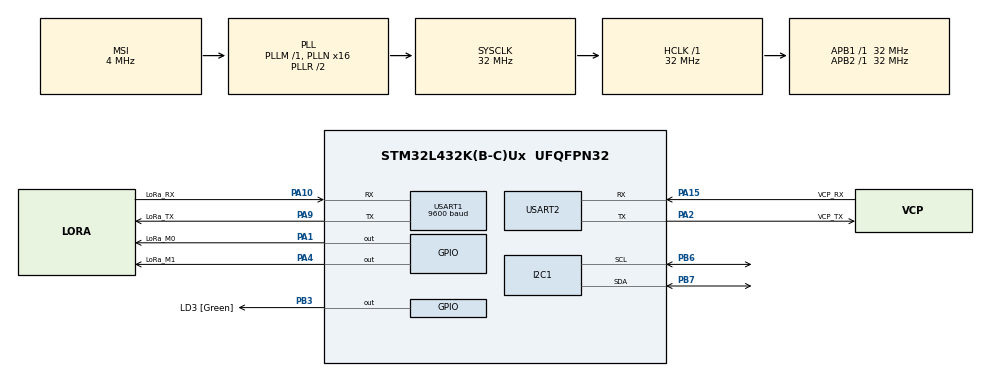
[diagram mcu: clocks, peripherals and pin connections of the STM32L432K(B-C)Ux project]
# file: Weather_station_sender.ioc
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I2C1.Timing=0x00707CBB
Mcu.Family=STM32L4
Mcu.Name=STM32L432K(B-C)Ux
Mcu.Package=UFQFPN32
NVIC.PriorityGroup=NVIC_PRIORITYGROUP_4
NVIC.USART1_IRQn=true\:0\:0\:false\:false\:true\:true\:true\:true
PA0.GPIO_Label=MCO [High speed clock in]
PA0.Mode=HSE-External-Clock-Source-for-LittleOrca
PA0.Signal=RCC_CK_IN
PA1.GPIO_Label=LoRa_M0
PA1.GPIO_PuPd=GPIO_PULLUP
PA1.GPIO_Speed=GPIO_SPEED_FREQ_HIGH
PA1.Signal=GPIO_Output
PA10.GPIO_Label=LoRa_RX
PA10.Mode=Asynchronous
PA10.Signal=USART1_RX
PA13\ (JTMS-SWDIO).GPIO_Label=SWDIO
PA13\ (JTMS-SWDIO).Mode=Serial_Wire
PA13\ (JTMS-SWDIO).Signal=SYS_JTMS-SWDIO
PA14\ (JTCK-SWCLK).GPIO_Label=SWCLK
PA14\ (JTCK-SWCLK).Mode=Serial_Wire
PA14\ (JTCK-SWCLK).Signal=SYS_JTCK-SWCLK
PA15\ (JTDI).GPIO_Label=VCP_RX
PA15\ (JTDI).Mode=Asynchronous
PA15\ (JTDI).Signal=USART2_RX
PA2.GPIO_Label=VCP_TX
PA2.Mode=Asynchronous
PA2.Signal=USART2_TX
PA4.GPIO_Label=LoRa_M1
PA4.GPIO_PuPd=GPIO_PULLUP
PA4.GPIO_Speed=GPIO_SPEED_FREQ_HIGH
PA4.Signal=GPIO_Output
PA9.GPIO_Label=LoRa_TX
PA9.GPIO_Speed=GPIO_SPEED_FREQ_LOW
PA9.Mode=Asynchronous
PA9.Signal=USART1_TX
PB3\ (JTDO-TRACESWO).GPIO_Label=LD3 [Green]
PB3\ (JTDO-TRACESWO).GPIO_Speed=GPIO_SPEED_FREQ_HIGH
PB3\ (JTDO-TRACESWO).Signal=GPIO_Output
PB6.Mode=I2C
PB6.Signal=I2C1_SCL
PB7.Mode=I2C
PB7.Signal=I2C1_SDA
PC14-OSC32_IN\ (PC14).Mode=LSE-External-Oscillator
PC14-OSC32_IN\ (PC14).Signal=RCC_OSC32_IN
PC15-OSC32_OUT\ (PC15).Mode=LSE-External-Oscillator
PC15-OSC32_OUT\ (PC15).Signal=RCC_OSC32_OUT
ProjectManager.HeapSize=0x200
ProjectManager.StackSize=0x400
ProjectManager.TargetToolchain=STM32CubeIDE
RCC.AHBFreq_Value=32000000
RCC.APB1Freq_Value=32000000
RCC.APB1TimFreq_Value=32000000
RCC.APB2Freq_Value=32000000
RCC.APB2TimFreq_Value=32000000
RCC.CortexFreq_Value=32000000
RCC.HCLKFreq_Value=32000000
RCC.HSE_VALUE=8000000
RCC.HSI16_VALUE=16000000
RCC.HSI48_VALUE=48000000
RCC.HSI_VALUE=16000000
RCC.MSI_VALUE=4000000
RCC.PLLMUL=RCC_PLLMUL_4
RCC.PLLN=16
RCC.SYSCLKFreq_VALUE=32000000
RCC.SYSCLKSource=RCC_SYSCLKSOURCE_PLLCLK
RCC.VCOOutputFreq_Value=64000000
USART1.BaudRate=9600
USART1.VirtualMode-Asynchronous=VM_ASYNC
USART2.VirtualMode-Asynchronous=VM_ASYNC
board=NUCLEO-L432KC

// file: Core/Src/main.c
/* USER CODE BEGIN Header */
/**
 ******************************************************************************
 * @file           : main.c
 * @brief          : Main program body
 ******************************************************************************
 * @attention
 *
 * Copyright (c) 2023 STMicroelectronics.
 * All rights reserved.
 *
 * This software is licensed under terms that can be found in the LICENSE file
 * in the root directory of this software component.
 * If no LICENSE file comes with this software, it is provided AS-IS.
 *
 ******************************************************************************
 */
/* USER CODE END Header */
#include "main.h"

/* USER CODE BEGIN Includes */
#include <string.h>
#include <stdbool.h>
#include <stdlib.h>
#include <string.h>
#include <stdio.h>
#include "sx126x_lora_hat.h"

/* USER CODE END Includes */

/* USER CODE BEGIN PD */
#define MAX_ARRAY_SIZE 400
/* USER CODE END PD */

I2C_HandleTypeDef hi2c1;

UART_HandleTypeDef huart1;
UART_HandleTypeDef huart2;

/* USER CODE BEGIN PV */
uint8_t COMMAND_READ_TEMPERATURE = 0x11;
uint8_t COMMAND_READ_HUMIDITY = 0x01;
static const uint8_t TH02_ADDR = 0x40 << 1;			// Slave address of TH02 shifted by 1 as it is 7bit address
uint8_t init_cplt_flag = ERROR;
uint8_t over_flag = ERROR;
uint8_t rece_buff;
uint8_t rece_count = 3;
uint8_t buffer[100]="\0";
bool transmitted = false;
bool received = false;
bool loop_while = false;

/* USER CODE END PV */

void SystemClock_Config(void);
static void MX_GPIO_Init(void);
static void MX_USART2_UART_Init(void);
static void MX_USART1_UART_Init(void);
static void MX_I2C1_Init(void);
/* USER CODE BEGIN PFP */
uint16_t read_TH02(uint8_t command);

/* USER CODE END PFP */

int main(void)
{
	/* USER CODE BEGIN 1 */
	//uint8_t transparent_string[] = "1. This is a transparent message\r\n";

	/* USER CODE END 1 */

	/* MCU Configuration--------------------------------------------------------*/

	/* Reset of all peripherals, Initializes the Flash interface and the Systick. */
	HAL_Init();

	/* Configure the system clock */
	SystemClock_Config();

	/* Initialize all configured peripherals */
	MX_GPIO_Init();
	MX_USART2_UART_Init();
	MX_USART1_UART_Init();
	MX_I2C1_Init();
	/* USER CODE BEGIN 2 */

	bool flg_I2C_available = false;
	//Wait for reset from LoRa #module
	HAL_Delay(1000);
	while(ERROR == cfg_sx126x_mode(TRANSPARENT_MODE)){
		HAL_Delay(500);
	}

	/* USER CODE END 2 */

	/* Infinite loop */
	/* USER CODE BEGIN WHILE */
	while (1)
	{
		char message[50]={'\0'};
		char large_test_message[MAX_ARRAY_SIZE];
		memset(large_test_message, 'A', sizeof(large_test_message));
		memcpy(&large_test_message[MAX_ARRAY_SIZE-4], "B\r\n\0",4 );
		//large_test_message[MAX_ARRAY_SIZE-1]='\0';
		//COPIED FROM BEYOND COMPARE BEGIN
		HAL_StatusTypeDef ret= HAL_ERROR;
		uint16_t temperature = 0;
		uint16_t humidity = 0;

		if((ret = HAL_I2C_IsDeviceReady(&hi2c1, TH02_ADDR , 1, 2))!= HAL_OK){
			flg_I2C_available = false;
			char error[]="TH02 SENSOR NOT FOUND\r\n";
			HAL_UART_Transmit(&huart2, (uint8_t *)&error,strlen(error),HAL_MAX_DELAY);
		}
		else{
			flg_I2C_available = true;
		}

		if(flg_I2C_available){

			temperature = read_TH02(COMMAND_READ_TEMPERATURE);
			humidity = read_TH02(COMMAND_READ_HUMIDITY);

			//Build status message and print it on connected terminal
			//sprintf(message,"Temp: %d°C\n\rHum: %d%%\n\n\r",temperature,humidity);
			sprintf(message,"%3d|%3d\r\n",temperature,humidity);
			//sprintf(message1,"%3d|%3d\r\n",temperature,humidity);
			HAL_UART_Transmit(&huart2, (uint8_t *)&message,strlen(message),HAL_MAX_DELAY);
		}

		//HAL_UART_Transmit_IT(&huart1,(uint8_t *)&message,strlen((const char *)message));

		/*BEGIN CURRENT MEASUREMENT------------------*/

		//HAL_UART_Transmit_IT(&huart1,(uint8_t *)&message,strlen((const char *)message));
		int a = strlen(large_test_message);

		HAL_UART_Transmit_IT(&huart1,(uint8_t *)&large_test_message,strlen((const char *)large_test_message));

		/*END CURRENT MEASUREMENT--------------------*/
		if(SUCCESS == over_flag){
			HAL_UART_Transmit_IT(&huart2,buffer,strlen((const char *)buffer));
			over_flag = ERROR;
			rece_count = 0;
			HAL_UART_Receive_IT(&huart1,(uint8_t *)&rece_buff,1);
		}

		HAL_Delay(5000);

		/* USER CODE END WHILE */

	}
}

void SystemClock_Config(void)
{
	RCC_OscInitTypeDef RCC_OscInitStruct = {0};
	RCC_ClkInitTypeDef RCC_ClkInitStruct = {0};

	/** Configure the main internal regulator output voltage
	 */
	if (HAL_PWREx_ControlVoltageScaling(PWR_REGULATOR_VOLTAGE_SCALE1) != HAL_OK)
	{
		Error_Handler();
	}

	/** Configure LSE Drive Capability
	 */
	HAL_PWR_EnableBkUpAccess();
	__HAL_RCC_LSEDRIVE_CONFIG(RCC_LSEDRIVE_LOW);

	/** Initializes the RCC Oscillators according to the specified parameters
	 * in the RCC_OscInitTypeDef structure.
	 */
	RCC_OscInitStruct.OscillatorType = RCC_OSCILLATORTYPE_LSE|RCC_OSCILLATORTYPE_MSI;
	RCC_OscInitStruct.LSEState = RCC_LSE_ON;
	RCC_OscInitStruct.MSIState = RCC_MSI_ON;
	RCC_OscInitStruct.MSICalibrationValue = 0;
	RCC_OscInitStruct.MSIClockRange = RCC_MSIRANGE_6;
	RCC_OscInitStruct.PLL.PLLState = RCC_PLL_ON;
	RCC_OscInitStruct.PLL.PLLSource = RCC_PLLSOURCE_MSI;
	RCC_OscInitStruct.PLL.PLLM = 1;
	RCC_OscInitStruct.PLL.PLLN = 16;
	RCC_OscInitStruct.PLL.PLLP = RCC_PLLP_DIV7;
	RCC_OscInitStruct.PLL.PLLQ = RCC_PLLQ_DIV2;
	RCC_OscInitStruct.PLL.PLLR = RCC_PLLR_DIV2;
	if (HAL_RCC_OscConfig(&RCC_OscInitStruct) != HAL_OK)
	{
		Error_Handler();
	}

	/** Initializes the CPU, AHB and APB buses clocks
	 */
	RCC_ClkInitStruct.ClockType = RCC_CLOCKTYPE_HCLK|RCC_CLOCKTYPE_SYSCLK
			|RCC_CLOCKTYPE_PCLK1|RCC_CLOCKTYPE_PCLK2;
	RCC_ClkInitStruct.SYSCLKSource = RCC_SYSCLKSOURCE_PLLCLK;
	RCC_ClkInitStruct.AHBCLKDivider = RCC_SYSCLK_DIV1;
	RCC_ClkInitStruct.APB1CLKDivider = RCC_HCLK_DIV1;
	RCC_ClkInitStruct.APB2CLKDivider = RCC_HCLK_DIV1;

	if (HAL_RCC_ClockConfig(&RCC_ClkInitStruct, FLASH_LATENCY_1) != HAL_OK)
	{
		Error_Handler();
	}

	/** Enable MSI Auto calibration
	 */
	HAL_RCCEx_EnableMSIPLLMode();
}

static void MX_I2C1_Init(void)
{

	hi2c1.Instance = I2C1;
	hi2c1.Init.Timing = 0x00707CBB;
	hi2c1.Init.OwnAddress1 = 0;
	hi2c1.Init.AddressingMode = I2C_ADDRESSINGMODE_7BIT;
	hi2c1.Init.DualAddressMode = I2C_DUALADDRESS_DISABLE;
	hi2c1.Init.OwnAddress2 = 0;
	hi2c1.Init.OwnAddress2Masks = I2C_OA2_NOMASK;
	hi2c1.Init.GeneralCallMode = I2C_GENERALCALL_DISABLE;
	hi2c1.Init.NoStretchMode = I2C_NOSTRETCH_DISABLE;
	if (HAL_I2C_Init(&hi2c1) != HAL_OK)
	{
		Error_Handler();
	}

	/** Configure Analogue filter
	 */
	if (HAL_I2CEx_ConfigAnalogFilter(&hi2c1, I2C_ANALOGFILTER_ENABLE) != HAL_OK)
	{
		Error_Handler();
	}

	/** Configure Digital filter
	 */
	if (HAL_I2CEx_ConfigDigitalFilter(&hi2c1, 0) != HAL_OK)
	{
		Error_Handler();
	}

}

static void MX_USART1_UART_Init(void)
{

	huart1.Instance = USART1;
	huart1.Init.BaudRate = 9600;
	huart1.Init.WordLength = UART_WORDLENGTH_8B;
	huart1.Init.StopBits = UART_STOPBITS_1;
	huart1.Init.Parity = UART_PARITY_NONE;
	huart1.Init.Mode = UART_MODE_TX_RX;
	huart1.Init.HwFlowCtl = UART_HWCONTROL_NONE;
	huart1.Init.OverSampling = UART_OVERSAMPLING_16;
	huart1.Init.OneBitSampling = UART_ONE_BIT_SAMPLE_DISABLE;
	huart1.AdvancedInit.AdvFeatureInit = UART_ADVFEATURE_NO_INIT;
	if (HAL_UART_Init(&huart1) != HAL_OK)
	{
		Error_Handler();
	}

}

static void MX_USART2_UART_Init(void)
{

	huart2.Instance = USART2;
	huart2.Init.BaudRate = 115200;
	huart2.Init.WordLength = UART_WORDLENGTH_8B;
	huart2.Init.StopBits = UART_STOPBITS_1;
	huart2.Init.Parity = UART_PARITY_NONE;
	huart2.Init.Mode = UART_MODE_TX_RX;
	huart2.Init.HwFlowCtl = UART_HWCONTROL_NONE;
	huart2.Init.OverSampling = UART_OVERSAMPLING_16;
	huart2.Init.OneBitSampling = UART_ONE_BIT_SAMPLE_DISABLE;
	huart2.AdvancedInit.AdvFeatureInit = UART_ADVFEATURE_NO_INIT;
	if (HAL_UART_Init(&huart2) != HAL_OK)
	{
		Error_Handler();
	}

}

static void MX_GPIO_Init(void)
{
	GPIO_InitTypeDef GPIO_InitStruct = {0};

	/* GPIO Ports Clock Enable */
	__HAL_RCC_GPIOC_CLK_ENABLE();
	__HAL_RCC_GPIOA_CLK_ENABLE();
	__HAL_RCC_GPIOB_CLK_ENABLE();

	/*Configure GPIO pin Output Level */
	HAL_GPIO_WritePin(GPIOA, LoRa_M0_Pin|LoRa_M1_Pin, GPIO_PIN_RESET);

	/*Configure GPIO pin Output Level */
	HAL_GPIO_WritePin(LD3_GPIO_Port, LD3_Pin, GPIO_PIN_RESET);

	/*Configure GPIO pins : LoRa_M0_Pin LoRa_M1_Pin */
	GPIO_InitStruct.Pin = LoRa_M0_Pin|LoRa_M1_Pin;
	GPIO_InitStruct.Mode = GPIO_MODE_OUTPUT_PP;
	GPIO_InitStruct.Pull = GPIO_PULLUP;
	GPIO_InitStruct.Speed = GPIO_SPEED_FREQ_HIGH;
	HAL_GPIO_Init(GPIOA, &GPIO_InitStruct);

	/*Configure GPIO pin : LD3_Pin */
	GPIO_InitStruct.Pin = LD3_Pin;
	GPIO_InitStruct.Mode = GPIO_MODE_OUTPUT_PP;
	GPIO_InitStruct.Pull = GPIO_NOPULL;
	GPIO_InitStruct.Speed = GPIO_SPEED_FREQ_HIGH;
	HAL_GPIO_Init(LD3_GPIO_Port, &GPIO_InitStruct);

}

/* USER CODE BEGIN 4 */
uint16_t read_TH02(uint8_t command){

	uint8_t buf[12] = {0};
	uint16_t temp_val = 0;

	//Config TH02 to measure
	HAL_I2C_Mem_Write(&hi2c1, TH02_ADDR, 0x03, I2C_MEMADD_SIZE_8BIT, &command, 1, HAL_MAX_DELAY);
	HAL_Delay(500);
	//Read config register to check for correct config for measurements
	HAL_I2C_Mem_Read(&hi2c1, TH02_ADDR, 0x03, I2C_MEMADD_SIZE_8BIT, buf, 1, HAL_MAX_DELAY);
	//Read high and low byte
	HAL_I2C_Mem_Read(&hi2c1, TH02_ADDR, 0x01, I2C_MEMADD_SIZE_8BIT, buf, 2, HAL_MAX_DELAY);

	//calculate temperature
	if(command == 0x11){
		temp_val  = (buf[0]<<8);
		temp_val |= buf[1];
		temp_val = temp_val >> 2;
		temp_val = (temp_val/32) - 50;
	}
	//calculate humidity
	else {
		temp_val  = (buf[0]<<8);
		temp_val |= buf[1];
		temp_val = temp_val >> 4;
		temp_val = (temp_val/16) - 24;
	}
	return temp_val;
}

/**
 * @brief Tx Transfer completed callback.
 * @param huart UART handle.
 * @retval None
 */
void HAL_UART_TxCpltCallback(UART_HandleTypeDef *huart)
{
	if(huart == &huart2){
		transmitted = true;
	}
	else if(huart == &huart1){
		//Do nothing
	}
}

/**
 * @brief  Rx Transfer completed callback.
 * @param  huart UART handle.
 * @retval None
 */
void HAL_UART_RxCpltCallback(UART_HandleTypeDef *huart)
{
	if (huart == &huart1){
		if( SUCCESS == init_cplt_flag){
			received = true;
		}
	}
}
/* USER CODE END 4 */

void Error_Handler(void)
{
	__disable_irq();
	while (1)
	{
	}
}
